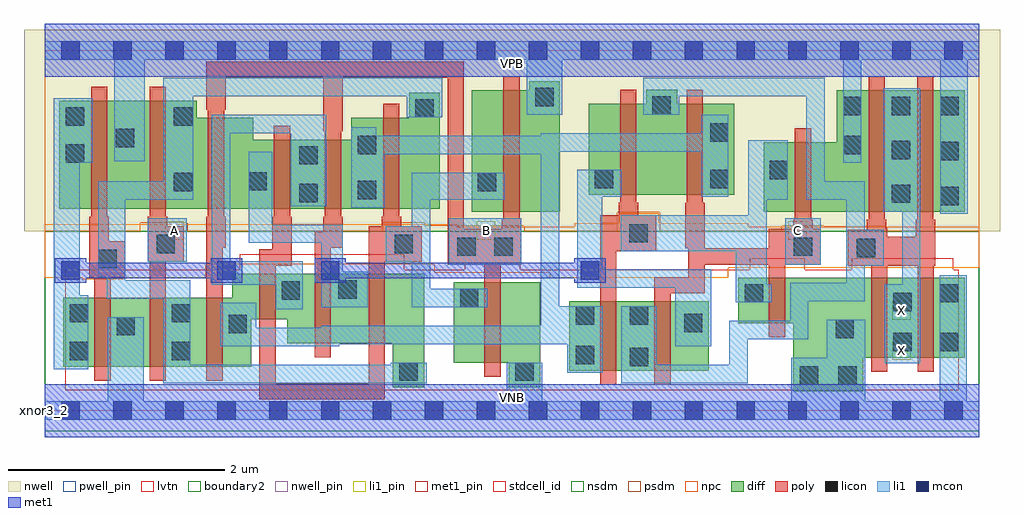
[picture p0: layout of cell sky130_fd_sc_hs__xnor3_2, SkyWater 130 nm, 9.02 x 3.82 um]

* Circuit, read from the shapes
.subckt sky130_fd_sc_hs__xnor3_2 A B C VGND VNB VPB VPWR X
XM1 VGND n1 n2 VNB sky130_fd_pr__nfet_01v8_lvt w=0.64 l=0.15
XM2 n1 A VGND VNB sky130_fd_pr__nfet_01v8_lvt w=0.64 l=0.15
XM3 n3 B n1 VNB sky130_fd_pr__nfet_01v8_lvt w=0.64 l=0.15
XM4 n2 n4 n3 VNB sky130_fd_pr__nfet_01v8_lvt w=0.42 l=0.15
XM5 n5 B n2 VNB sky130_fd_pr__nfet_01v8_lvt w=0.64 l=0.15
XM6 n1 n4 n5 VNB sky130_fd_pr__nfet_01v8_lvt w=0.64 l=0.15
XM7 VGND B n4 VNB sky130_fd_pr__nfet_01v8_lvt w=0.74 l=0.15
XM8 n6 n7 n3 VNB sky130_fd_pr__nfet_01v8_lvt w=0.64 l=0.15
XM9 n5 C n6 VNB sky130_fd_pr__nfet_01v8_lvt w=0.64 l=0.15
XM10 VGND C n7 VNB sky130_fd_pr__nfet_01v8_lvt w=0.42 l=0.15
XM11 X n6 VGND VNB sky130_fd_pr__nfet_01v8_lvt w=0.74 l=0.15 m=2
XM12 VPWR n1 n2 VPB sky130_fd_pr__pfet_01v8 w=1 l=0.15
XM13 n1 A VPWR VPB sky130_fd_pr__pfet_01v8 w=1 l=0.15
XM14 n5 B n1 VPB sky130_fd_pr__pfet_01v8 w=0.84 l=0.15
XM15 n2 n4 n5 VPB sky130_fd_pr__pfet_01v8 w=0.64 l=0.15
XM16 n3 B n2 VPB sky130_fd_pr__pfet_01v8 w=0.64 l=0.15
XM17 n1 n4 n3 VPB sky130_fd_pr__pfet_01v8 w=0.84 l=0.15
XM18 VPWR B n4 VPB sky130_fd_pr__pfet_01v8 w=1.12 l=0.15
XM19 n6 n7 n5 VPB sky130_fd_pr__pfet_01v8 w=0.84 l=0.15
XM20 n3 C n6 VPB sky130_fd_pr__pfet_01v8 w=0.84 l=0.15
XM21 VPWR C n7 VPB sky130_fd_pr__pfet_01v8 w=0.64 l=0.15
XM22 X n6 VPWR VPB sky130_fd_pr__pfet_01v8 w=1.12 l=0.15 m=2
.ends

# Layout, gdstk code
import gdstk
lib = gdstk.Library(unit=1e-6, precision=1e-09)
def R(c, l, rs):  # rectangles x0, y0, x1, y1
    for r in rs: c.add(gdstk.rectangle(r[:2], r[2:], *l))
def A(c, l, x, y, w, h, nx, ny, dx, dy):  # array of equal rectangles
    R(c, l, [(x+i*dx, y+j*dy, x+i*dx+w, y+j*dy+h) for i in range(nx) for j in range(ny)])
def P(c, l, *ps):  # polygons
    for p in ps: c.add(gdstk.Polygon(p, *l))
nwell_pin = (64, 16)
nwell = (64, 20)
diff = (65, 20)
poly = (66, 20)
licon = (66, 44)
li1_pin = (67, 16)
li1 = (67, 20)
mcon = (67, 44)
met1_pin = (68, 16)
met1 = (68, 20)
stdcell_id = (81, 4)
nsdm = (93, 44)
psdm = (94, 20)
npc = (95, 20)
pwell_pin = (122, 16)
lvtn = (125, 44)
boundary2 = (236, 0)

sky130_fd_sc_hs__xnor3_2 = lib.new_cell('sky130_fd_sc_hs__xnor3_2')
R(sky130_fd_sc_hs__xnor3_2, nwell_pin, [(0,3.085,8.64,3.33)])
R(sky130_fd_sc_hs__xnor3_2, nwell, [(-0.19,1.66,8.83,3.52)])
R(sky130_fd_sc_hs__xnor3_2, diff, [(4.85,0.37,6.14,1.01)])
P(sky130_fd_sc_hs__xnor3_2, diff, [(3.51,1.265),(1.735,1.265),(1.735,1.045),(0.175,1.045),(0.175,0.405),(1.91,0.405),(1.91,0.845),(2.245,0.845),(2.245,0.625),(3.22,0.625),(3.22,0.215),(3.51,0.215)],
  [(3.65,2.94),(3.37,2.94),(3.37,2.705),(2.835,2.705),(2.835,2.505),(1.93,2.505),(1.93,2.705),(1.405,2.705),(1.405,2.865),(0.135,2.865),(0.135,1.865),(3.65,1.865)],
  [(4.58,1.185),(3.78,1.185),(3.78,0.445),(4.29,0.445),(4.29,0.215),(4.58,0.215)],
  [(4.76,3.045),(4.48,3.045),(4.48,2.96),(3.95,2.96),(3.95,1.84),(4.76,1.84)],
  [(6.375,2.835),(5.845,2.835),(5.845,2.965),(5.56,2.965),(5.56,2.835),(5.03,2.835),(5.03,1.995),(6.375,1.995)],
  [(8.505,2.96),(7.32,2.96),(7.32,2.48),(6.645,2.48),(6.645,1.84),(8.505,1.84)],
  [(8.505,1.23),(6.41,1.23),(6.41,0.81),(6.92,0.81),(6.92,0.18),(7.565,0.18),(7.565,0.49),(8.505,0.49)])
P(sky130_fd_sc_hs__xnor3_2, poly, [(8.23,1.765),(8.215,1.765),(8.215,3.09),(8.065,3.09),(8.065,1.765),(8.05,1.765),(8.05,1.605),(7.79,1.605),(7.79,1.67),(7.78,1.67),(7.78,1.765),(7.765,1.765),(7.765,3.09),(7.615,3.09),(7.615,1.765),(7.6,1.765),(7.6,1.67),(7.425,1.67),(7.425,1.34),(7.64,1.34),(7.64,0.36),(7.79,0.36),(7.79,1.34),(8.07,1.34),(8.07,0.36),(8.22,0.36),(8.22,1.34),(8.23,1.34)],
  [(7.175,1.68),(7.1,1.68),(7.1,1.765),(7.085,1.765),(7.085,2.61),(6.935,2.61),(6.935,1.765),(6.92,1.765),(6.92,1.68),(6.695,1.68),(6.695,1.5),(6.1,1.5),(6.1,1.92),(6.085,1.92),(6.085,2.965),(5.935,2.965),(5.935,1.92),(5.92,1.92),(5.92,1.5),(5.95,1.5),(5.95,1.235),(5.635,1.235),(5.635,0.24),(5.785,0.24),(5.785,1.085),(6.1,1.085),(6.1,1.35),(6.695,1.35),(6.695,0.68),(6.845,0.68),(6.845,1.35),(7.175,1.35)],
  [(5.655,1.805),(5.485,1.805),(5.485,1.92),(5.47,1.92),(5.47,2.965),(5.32,2.965),(5.32,1.92),(5.305,1.92),(5.305,1.805),(5.135,1.805),(5.135,0.24),(5.285,0.24),(5.285,1.475),(5.655,1.475)],
  [(4.405,1.765),(4.39,1.765),(4.39,3.09),(4.24,3.09),(4.24,1.765),(4.225,1.765),(4.225,1.68),(3.875,1.68),(3.875,3.225),(1.495,3.225),(1.495,2.78),(1.51,2.78),(1.51,1.79),(1.495,1.79),(1.495,0.275),(1.645,0.275),(1.645,1.505),(1.675,1.505),(1.675,1.79),(1.66,1.79),(1.66,2.78),(1.675,2.78),(1.675,3.075),(2.575,3.075),(2.575,2.58),(2.59,2.58),(2.59,1.79),(2.575,1.79),(2.575,1.655),(2.495,1.655),(2.495,0.495),(2.645,0.495),(2.645,1.505),(2.755,1.505),(2.755,1.79),(2.74,1.79),(2.74,2.58),(2.755,2.58),(2.755,3.075),(3.725,3.075),(3.725,1.35),(4.065,1.35),(4.065,0.315),(4.215,0.315),(4.215,1.35),(4.405,1.35)],
  [(3.485,1.705),(3.295,1.705),(3.295,1.79),(3.28,1.79),(3.28,2.835),(3.13,2.835),(3.13,1.79),(3.115,1.79),(3.115,1.705),(2.995,1.705),(2.995,0.255),(2.135,0.255),(2.135,1.34),(2.285,1.34),(2.285,1.79),(2.27,1.79),(2.27,2.635),(2.12,2.635),(2.12,1.79),(2.105,1.79),(2.105,1.49),(1.985,1.49),(1.985,0.105),(3.145,0.105),(3.145,1.375),(3.485,1.375)],
  [(1.285,1.705),(1.135,1.705),(1.135,1.79),(1.12,1.79),(1.12,2.995),(0.97,2.995),(0.97,1.79),(0.955,1.79),(0.955,1.375),(0.97,1.375),(0.97,0.275),(1.12,0.275),(1.12,1.375),(1.285,1.375)],
  [(0.745,1.565),(0.595,1.565),(0.595,1.79),(0.58,1.79),(0.58,2.995),(0.43,2.995),(0.43,1.79),(0.415,1.79),(0.415,1.235),(0.46,1.235),(0.46,0.275),(0.61,0.275),(0.61,1.235),(0.745,1.235)])
A(sky130_fd_sc_hs__xnor3_2, licon, 7.38, 2.73, 0.17, 0.17, 3, 1, 0.45, 0)
R(sky130_fd_sc_hs__xnor3_2, licon, [(6.98,0.24,7.15,0.41), (7.335,0.24,7.505,0.41), (3.28,0.275,3.45,0.445), (4.35,0.275,4.52,0.445), (5.41,0.41,5.58,0.58), (4.91,0.43,5.08,0.6), (0.235,0.465,0.405,0.635), (1.175,0.465,1.345,0.635), (7.845,0.55,8.015,0.72), (8.275,0.55,8.445,0.72), (7.31,0.67,7.48,0.84), (0.665,0.695,0.835,0.865), (1.7,0.715,1.87,0.885), (5.91,0.725,6.08,0.895), (4.91,0.795,5.08,0.965), (5.41,0.795,5.58,0.965), (0.235,0.815,0.405,0.985), (1.175,0.815,1.345,0.985), (7.845,0.92,8.015,1.09), (3.84,0.955,4.01,1.125), (6.47,1,6.64,1.17), (8.275,1,8.445,1.17), (2.19,1.025,2.36,1.195), (2.715,1.035,2.885,1.205), (0.495,1.315,0.665,1.485), (7.505,1.42,7.675,1.59), (3.815,1.43,3.985,1.6), (4.155,1.43,4.325,1.6), (6.925,1.43,7.095,1.6), (1.035,1.455,1.205,1.625), (3.235,1.455,3.405,1.625), (5.405,1.555,5.575,1.725), (8.28,1.9,8.45,2.07), (7.83,1.92,8,2.09), (2.355,1.925,2.525,2.095), (2.895,1.955,3.065,2.125), (1.195,2.03,1.365,2.2), (4.005,2.03,4.175,2.2), (1.885,2.035,2.055,2.205), (5.085,2.055,5.255,2.225), (6.15,2.055,6.32,2.225), (6.7,2.14,6.87,2.31), (2.355,2.275,2.525,2.445), (0.195,2.29,0.365,2.46), (8.28,2.315,8.45,2.485), (7.83,2.325,8,2.495), (2.895,2.37,3.065,2.54), (7.38,2.37,7.55,2.54), (0.66,2.435,0.83,2.605), (6.15,2.485,6.32,2.655), (0.195,2.635,0.365,2.805), (1.195,2.635,1.365,2.805), (3.425,2.71,3.595,2.88), (5.615,2.735,5.785,2.905), (4.535,2.815,4.705,2.985)])
A(sky130_fd_sc_hs__xnor3_2, li1_pin, 1.115, 1.58, 0.17, 0.17, 3, 1, 2.88, 0)
R(sky130_fd_sc_hs__xnor3_2, li1_pin, [(7.835,0.47,8.005,0.64), (7.835,0.84,8.005,1.01)])
R(sky130_fd_sc_hs__xnor3_2, li1, [(3.735,1.35,4.405,1.78), (6.845,1.35,7.175,1.78), (0.955,1.375,1.315,1.78)])
P(sky130_fd_sc_hs__xnor3_2, li1, [(0,3.245),(0,3.415),(8.64,3.415),(8.64,3.245),(8.53,3.245),(8.53,1.82),(8.28,1.82),(8.28,3.245),(7.55,3.245),(7.55,2.29),(7.38,2.29),(7.38,3.245),(4.785,3.245),(4.785,2.735),(4.455,2.735),(4.455,3.245),(0.925,3.245),(0.925,2.305),(0.645,2.305),(0.645,3.245)],
  [(8.64,0.085),(8.525,0.085),(8.525,1.25),(8.275,1.25),(8.275,0.085),(7.585,0.085),(7.585,0.84),(7.23,0.84),(7.23,0.49),(6.9,0.49),(6.9,0.085),(4.6,0.085),(4.6,0.445),(4.27,0.445),(4.27,0.085),(0.915,0.085),(0.915,0.865),(0.585,0.865),(0.585,0.085),(0,0.085),(0,-0.085),(8.64,-0.085)],
  [(7.765,0.44),(7.765,1.17),(7.925,1.17),(7.925,1.84),(7.75,1.84),(7.75,2.98),(8.095,2.98),(8.095,0.44)],
  [(0.575,1.035),(0.575,1.235),(0.495,1.235),(0.495,2.12),(1.095,2.12),(1.095,3.075),(3.675,3.075),(3.675,2.71),(3.345,2.71),(3.345,2.905),(1.375,2.905),(1.375,1.95),(0.745,1.95),(0.745,1.205),(1.345,1.205),(1.345,0.425),(3.2,0.425),(3.2,0.445),(3.53,0.445),(3.53,0.255),(1.095,0.255),(1.095,1.035)],
  [(0.085,2.885),(0.445,2.885),(0.445,2.29),(0.325,2.29),(0.325,1.065),(0.405,1.065),(0.405,0.385),(0.085,0.385)],
  [(1.545,2.735),(2.605,2.735),(2.605,1.89),(2.275,1.89),(2.275,2.565),(1.715,2.565),(1.715,1.38),(2.385,1.38),(2.385,0.935),(2.135,0.935),(2.135,1.165),(1.545,1.165)],
  [(7.755,1.67),(7.58,1.67),(7.58,2.12),(7.21,2.12),(7.21,3.075),(5.535,3.075),(5.535,2.735),(5.865,2.735),(5.865,2.905),(7.04,2.905),(7.04,1.95),(7.41,1.95),(7.41,1.18),(6.89,1.18),(6.89,0.83),(6.33,0.83),(6.33,0.425),(5.66,0.425),(5.66,0.965),(5.33,0.965),(5.33,0.255),(6.5,0.255),(6.5,0.66),(7.06,0.66),(7.06,1.01),(7.58,1.01),(7.58,1.34),(7.755,1.34)],
  [(2.555,1.55),(1.885,1.55),(1.885,2.395),(2.105,2.395),(2.105,1.72),(2.755,1.72),(2.755,1.285),(2.985,1.285),(2.985,0.955),(2.555,0.955)],
  [(4.925,1.135),(4.925,2.225),(5.335,2.225),(5.335,1.975),(5.155,1.975),(5.155,1.305),(6.16,1.305),(6.16,0.595),(5.83,0.595),(5.83,1.135)],
  [(6.675,1.17),(6.72,1.17),(6.72,1),(6.39,1),(6.39,1.475),(5.325,1.475),(5.325,1.805),(6.505,1.805),(6.505,2.5),(6.87,2.5),(6.87,1.95),(6.675,1.95)],
  [(3.395,1.705),(3.395,2.2),(4.255,2.2),(4.255,1.95),(3.565,1.95),(3.565,1.125),(4.09,1.125),(4.09,0.955),(3.395,0.955),(3.395,1.375),(3.155,1.375),(3.155,1.705)],
  [(6.32,2.735),(6.07,2.735),(6.07,2.565),(4.585,2.565),(4.585,2.54),(3.065,2.54),(3.065,2.62),(2.835,2.62),(2.835,1.875),(3.145,1.875),(3.145,2.37),(4.585,2.37),(4.585,0.785),(2.555,0.785),(2.555,0.765),(1.955,0.765),(1.955,0.995),(1.625,0.995),(1.625,0.595),(2.725,0.595),(2.725,0.615),(4.83,0.615),(4.83,0.35),(5.16,0.35),(5.16,0.965),(4.755,0.965),(4.755,2.395),(6.07,2.395),(6.07,1.975),(6.32,1.975)])
A(sky130_fd_sc_hs__xnor3_2, mcon, 0.155, -0.085, 0.17, 0.17, 18, 2, 0.48, 3.33)
R(sky130_fd_sc_hs__xnor3_2, mcon, [(0.155,1.21,0.325,1.38), (1.595,1.21,1.765,1.38), (2.555,1.21,2.725,1.38), (4.955,1.21,5.125,1.38)])
R(sky130_fd_sc_hs__xnor3_2, met1_pin, [(0,0,8.64,0.245), (0,3.085,8.64,3.33)])
R(sky130_fd_sc_hs__xnor3_2, met1, [(0,-0.245,8.64,0.245), (0,3.085,8.64,3.575)])
P(sky130_fd_sc_hs__xnor3_2, met1, [(0.385,1.365),(1.535,1.365),(1.535,1.41),(1.825,1.41),(1.825,1.18),(1.535,1.18),(1.535,1.225),(0.385,1.225),(0.385,1.18),(0.095,1.18),(0.095,1.41),(0.385,1.41)],
  [(4.895,1.18),(4.895,1.225),(2.785,1.225),(2.785,1.18),(2.495,1.18),(2.495,1.41),(2.785,1.41),(2.785,1.365),(4.895,1.365),(4.895,1.41),(5.185,1.41),(5.185,1.18)])
R(sky130_fd_sc_hs__xnor3_2, stdcell_id, [(0,0,8.64,3.33)])
R(sky130_fd_sc_hs__xnor3_2, nsdm, [(0,-0.19,8.64,1.66)])
P(sky130_fd_sc_hs__xnor3_2, psdm, [(8.64,3.52),(0,3.52),(0,1.66),(0.885,1.66),(0.885,1.735),(1.32,1.735),(1.32,1.66),(3.125,1.66),(3.125,1.735),(3.515,1.735),(3.515,1.71),(4.435,1.71),(4.435,1.66),(5.295,1.66),(5.295,1.835),(5.685,1.835),(5.685,1.66),(6.815,1.66),(6.815,1.71),(7.205,1.71),(7.205,1.7),(7.785,1.7),(7.785,1.66),(8.64,1.66)])
P(sky130_fd_sc_hs__xnor3_2, npc, [(8.64,1.7),(6.505,1.7),(6.505,1.73),(5.675,1.73),(5.675,1.825),(5.305,1.825),(5.305,1.73),(4.9,1.73),(4.9,1.7),(3.81,1.7),(3.81,1.725),(0,1.725),(0,1.23),(0.355,1.23),(0.355,1.215),(0.725,1.215),(0.725,1.23),(1.49,1.23),(1.49,1.355),(3.6,1.355),(3.6,1.275),(4.67,1.275),(4.67,1.23),(6.32,1.23),(6.32,1.32),(8.64,1.32)])
R(sky130_fd_sc_hs__xnor3_2, pwell_pin, [(0,0,8.64,0.245)])
P(sky130_fd_sc_hs__xnor3_2, lvtn, [(8.45,1.3),(8.4,1.3),(8.4,1.41),(7.46,1.41),(7.46,1.3),(7.025,1.3),(7.025,1.41),(6.515,1.41),(6.515,1.3),(4.395,1.3),(4.395,1.365),(3.885,1.365),(3.885,1.3),(3.325,1.3),(3.325,1.445),(1.805,1.445),(1.805,1.3),(0.19,1.3),(0.19,0.19),(8.45,0.19)])
R(sky130_fd_sc_hs__xnor3_2, boundary2, [(0,0,8.64,3.33)])
sky130_fd_sc_hs__xnor3_2.add(gdstk.Label('xnor3_2', (0,0), layer=83, texttype=44))
sky130_fd_sc_hs__xnor3_2.add(gdstk.Label('VNB', (4.32,0.123), layer=64, texttype=59))
sky130_fd_sc_hs__xnor3_2.add(gdstk.Label('VPB', (4.32,3.208), layer=64, texttype=5))
sky130_fd_sc_hs__xnor3_2.add(gdstk.Label('VPWR', (4.32,3.208), layer=68, texttype=5))
sky130_fd_sc_hs__xnor3_2.add(gdstk.Label('VGND', (4.32,0.123), layer=68, texttype=5))
sky130_fd_sc_hs__xnor3_2.add(gdstk.Label('X', (7.92,0.555), layer=67, texttype=5))
sky130_fd_sc_hs__xnor3_2.add(gdstk.Label('X', (7.92,0.925), layer=67, texttype=5))
sky130_fd_sc_hs__xnor3_2.add(gdstk.Label('B', (4.08,1.665), layer=67, texttype=5))
sky130_fd_sc_hs__xnor3_2.add(gdstk.Label('C', (6.96,1.665), layer=67, texttype=5))
sky130_fd_sc_hs__xnor3_2.add(gdstk.Label('A', (1.2,1.665), layer=67, texttype=5))

lib.write_gds('sky130_fd_sc_hs__xnor3_2.gds')
